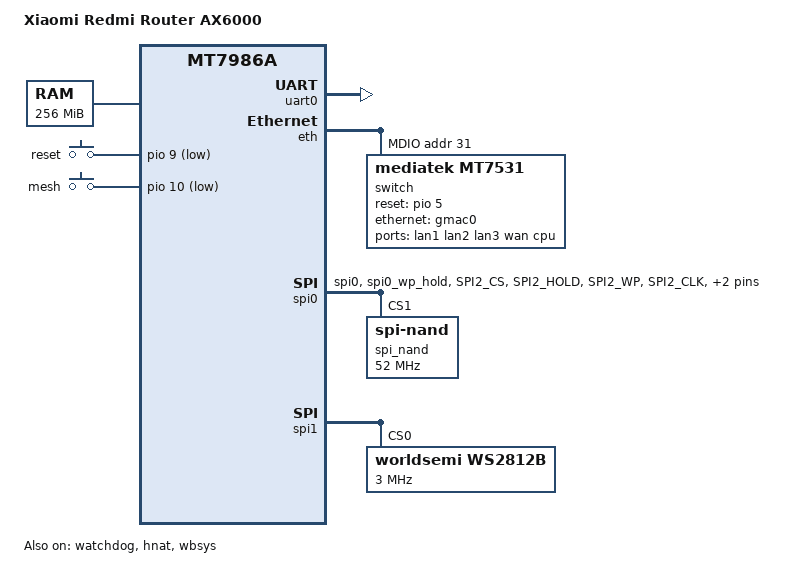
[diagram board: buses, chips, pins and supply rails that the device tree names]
// SPDX-License-Identifier: (GPL-2.0 OR MIT)

/dts-v1/;
#include <dt-bindings/input/input.h>
#include <dt-bindings/gpio/gpio.h>
#include <dt-bindings/leds/common.h>

#include "mt7986a.dtsi"
#include "mt7986a-pinctrl.dtsi"

/ {
	model = "Xiaomi Redmi Router AX6000";
	compatible = "xiaomi,redmi-router-ax6000", "mediatek,mt7986a";

	aliases {
		led-boot = &led_status_rgb;
		led-failsafe = &led_status_rgb;
		led-running = &led_status_rgb;
		led-upgrade = &led_status_rgb;
	};

	chosen {
		bootargs = "console=ttyS0,115200n1 loglevel=8 earlycon=uart8250,mmio32,0x11002000";
	};

	memory {
		reg = <0 0x40000000 0 0x10000000>;
	};

	 

	keys {
		compatible = "gpio-keys";

		reset {
			label = "reset";
			gpios = <&pio 9 GPIO_ACTIVE_LOW>;
			linux,code = <KEY_RESTART>;
		};

		mesh {
			label = "mesh";
			gpios = <&pio 10 GPIO_ACTIVE_LOW>;
			linux,code = <BTN_9>;
			linux,input-type = <EV_SW>;
		};
	};
};

&uart0 {
	status = "okay";
};

&watchdog {
	status = "okay";
};

&eth {
	status = "okay";

	gmac0: mac@0 {
		compatible = "mediatek,eth-mac";
		reg = <0>;
		phy-mode = "2500base-x";

		fixed-link {
			speed = <2500>;
			full-duplex;
			pause;
		};
	};

	gmac1: mac@1 {
		compatible = "mediatek,eth-mac";
		reg = <1>;
		phy-mode = "2500base-x";

		fixed-link {
			speed = <2500>;
			full-duplex;
			pause;
		};
	};

		mdio: mdio-bus {
		#address-cells = <1>;
		#size-cells = <0>;
 		
		switch@0 {
			compatible = "mediatek,mt7531";
			reg = <31>;
			reset-gpios = <&pio 5 0>;

			ports {
				#address-cells = <1>;
				#size-cells = <0>;

				port@0 {
					reg = <1>;
					label = "lan1";
				};

				port@1 {
					reg = <2>;
					label = "lan2";
				};

				port@2 {
					reg = <3>;
					label = "lan3";
				};

				port@3 {
					reg = <4>;
					label = "wan";
				};


				port@6 {
					reg = <6>;
					label = "cpu";
					ethernet = <&gmac0>;
					phy-mode = "2500base-x";

					fixed-link {
						speed = <2500>;
						full-duplex;
						pause;
					};
				};
			};
		};
	};
};

&hnat {
	mtketh-wan = "eth1";
	mtketh-lan = "lan";
	mtketh-ppd = "eth1";
	mtketh-max-gmac = <2>;
	mtketh-ppe-num = <2>;
	status = "okay";
};

&spi0 {
	pinctrl-names = "default";
	pinctrl-0 = <&spi_flash_pins>;
	cs-gpios = <0>, <0>;
	status = "okay";

	spi_nand: spi_nand@1 {
		#address-cells = <1>;
		#size-cells = <1>;
		compatible = "spi-nand";
		reg = <1>;
		spi-max-frequency = <52000000>;
		spi-tx-bus-width = <4>;
		spi-rx-bus-width = <4>;
		spi-cal-enable;
		spi-cal-mode = "read-data";
		spi-cal-datalen = <7>;
		spi-cal-data = /bits/ 8 <0x53 0x50 0x49 0x4E 0x41 0x4E 0x44>; /* 'SPINAND' */
		spi-cal-addrlen = <5>;
		spi-cal-addr = /bits/ 32 <0x0 0x0 0x0 0x0 0x0>;
	};
};

&spi1 {
	pinctrl-names = "default";
	pinctrl-0 = <&spic_pins_g2>;
	status = "okay";

	ws2812b@0 {
		#address-cells = <1>;
		#size-cells = <0>;
		compatible = "worldsemi,ws2812b";
		reg = <0>;
		spi-max-frequency = <3000000>;

		led_status_rgb: led@0 {
			reg = <0>;
			label = "rgb:status";
			color-index = <LED_COLOR_ID_RED LED_COLOR_ID_GREEN LED_COLOR_ID_BLUE>;
			color-intensity = <0 255 0>; /* GREEN */
		};

		led_network_rgb: led@1 {
			reg = <1>;
			label = "rgb:network";
			color-index = <LED_COLOR_ID_RED LED_COLOR_ID_GREEN LED_COLOR_ID_BLUE>;
			color-intensity = <0 0 255>; /* BLUE */
		};
	};
};

&wbsys {
	status = "okay";
	pinctrl-names = "default", "dbdc";
	pinctrl-0 = <&wf_2g_5g_pins>;
	pinctrl-1 = <&wf_dbdc_pins>;
};

&pio {
	spi_flash_pins: spi-flash-pins-33-to-38 {
		mux {
			function = "flash";
			groups = "spi0", "spi0_wp_hold";
		};
		conf-pu {
			pins = "SPI2_CS", "SPI2_HOLD", "SPI2_WP";
			drive-strength = <8>;
			mediatek,pull-up-adv = <0>;
		};
		conf-pd {
			pins = "SPI2_CLK", "SPI2_MOSI", "SPI2_MISO";
			drive-strength = <8>;
			mediatek,pull-down-adv = <0>;
		};
	};

	wf_2g_5g_pins: wf_2g_5g-pins {
		mux {
			function = "wifi";
			groups = "wf_2g", "wf_5g";
		};
		conf {
			pins = "WF0_HB1", "WF0_HB2", "WF0_HB3", "WF0_HB4",
			       "WF0_HB0", "WF0_HB0_B", "WF0_HB5", "WF0_HB6",
			       "WF0_HB7", "WF0_HB8", "WF0_HB9", "WF0_HB10",
			       "WF0_TOP_CLK", "WF0_TOP_DATA", "WF1_HB1",
			       "WF1_HB2", "WF1_HB3", "WF1_HB4", "WF1_HB0",
			       "WF1_HB5", "WF1_HB6", "WF1_HB7", "WF1_HB8",
			       "WF1_TOP_CLK", "WF1_TOP_DATA";
			drive-strength = <MTK_DRIVE_4mA>;
		};
	};

	wf_dbdc_pins: wf_dbdc-pins {
		mux {
			function = "wifi";
			groups = "wf_dbdc";
		};
		conf {
			pins = "WF0_HB1", "WF0_HB2", "WF0_HB3", "WF0_HB4",
			       "WF0_HB0", "WF0_HB0_B", "WF0_HB5", "WF0_HB6",
			       "WF0_HB7", "WF0_HB8", "WF0_HB9", "WF0_HB10",
			       "WF0_TOP_CLK", "WF0_TOP_DATA", "WF1_HB1",
			       "WF1_HB2", "WF1_HB3", "WF1_HB4", "WF1_HB0",
			       "WF1_HB5", "WF1_HB6", "WF1_HB7", "WF1_HB8",
			       "WF1_TOP_CLK", "WF1_TOP_DATA";
			drive-strength = <MTK_DRIVE_4mA>;
		};
	};
};
